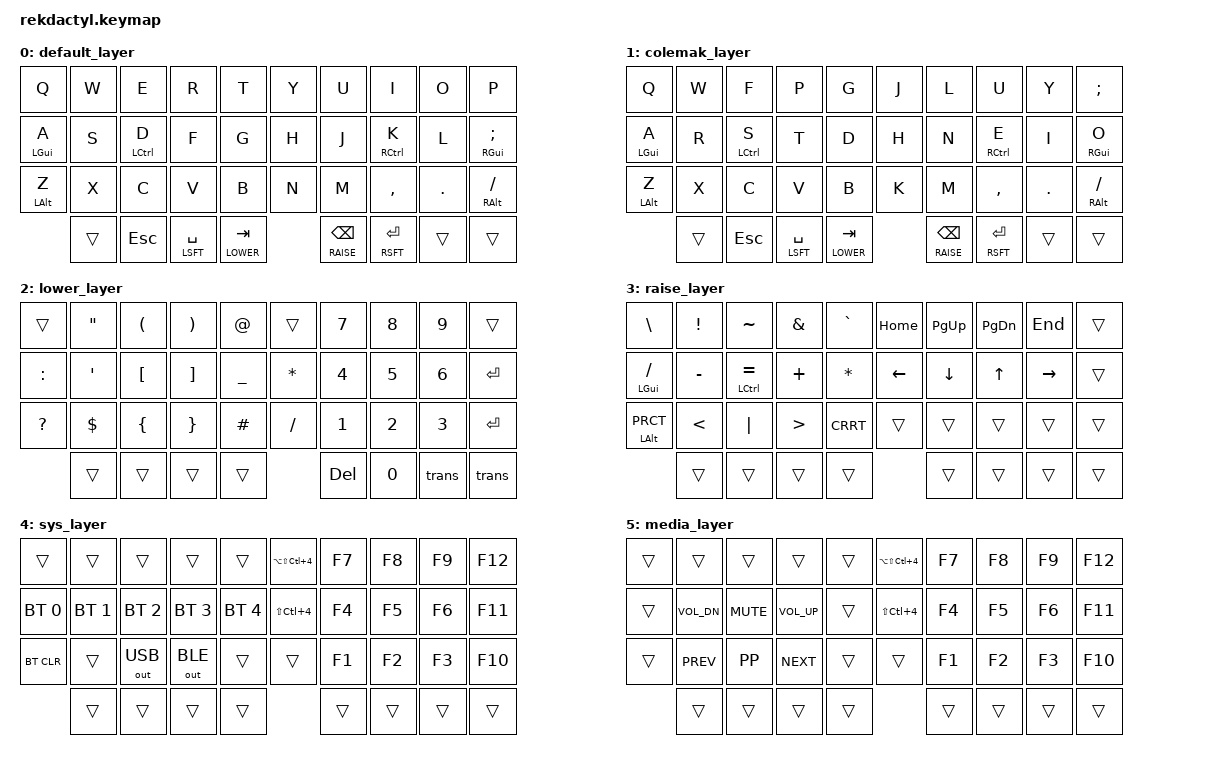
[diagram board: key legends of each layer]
/*
 * Copyright (c) 2020 The ZMK Contributors
 *
 * SPDX-License-Identifier: MIT
 */

 /*
  *  west build -b rekdactyl -- -DSHIELD=rekdactyl_left -DZMK_CONFIG="/Users/rishi/Documents/GitHub/zmk-config/config"
  */

#include <behaviors.dtsi>
#include <dt-bindings/zmk/keys.h>
#include <dt-bindings/zmk/bt.h>
#include <dt-bindings/zmk/outputs.h>

#define QWERTY 0
#define COLEMAK 1
#define LOWER 2
#define RAISE 3
#define SYS 4
#define MEDIA 5

/ {
        behaviors {
            hm: homerow_mods {
                compatible = "zmk,behavior-hold-tap";
                label = "HOMEROW_MODS";
                #binding-cells = <2>;
                tapping_term_ms = <150>;
                flavor = "tap-preferred";
                bindings = <&kp>, <&kp>;
            };
        };
        keymap {
                compatible = "zmk,keymap";

                default_layer {

                        bindings = <
   &kp Q      &kp W  &kp E       &kp R        &kp T           &kp Y &kp U  &kp I          &kp O   &kp P 
   &hm LGUI A &kp S  &hm LCTRL D &kp F        &kp G           &kp H &kp J  &hm RCTRL K    &kp L   &hm RGUI SCLN
   &hm LALT Z &kp X  &kp C       &kp V        &kp B           &kp N &kp M  &kp CMMA       &kp DOT &hm RALT FSLH
              &trans &kp ESC     &hm LSFT SPC &lt LOWER TAB   &lt RAISE BKSP &hm RSFT RET &trans &trans 
                    >;
                };

                colemak_layer {

                        bindings = <
   &kp Q      &kp W  &kp F       &kp P &kp G      &kp J &kp L  &kp U         &kp Y   &kp SCLN 
   &hm LGUI A &kp R  &hm LCTRL S &kp T &kp D      &kp H &kp N  &hm RCTRL E   &kp I   &hm RGUI O
   &hm LALT Z &kp X  &kp C       &kp V &kp B      &kp K &kp M  &kp CMMA      &kp DOT &hm RALT FSLH
  &trans &kp ESC     &hm LSFT SPC &lt LOWER TAB   &lt RAISE BKSP &hm RSFT RET &trans &trans 
                        >;
                };

                lower_layer {
                        bindings = <
   &trans          &kp DQT    &kp LPAR    &kp RPAR      &kp AT            &trans    &kp N7 &kp N8 &kp N9  &trans
   &kp COLON       &kp SQT    &kp LBKT    &kp RBKT      &kp UNDER         &kp STAR  &kp N4 &kp N5 &kp N6  &kp RET
   &kp QMARK       &kp DLLR   &kp LBRC    &kp RBRC      &kp HASH          &kp FSLH  &kp N1 &kp N2 &kp N3  &kp RET
                   &trans     &trans      &trans        &trans            &kp DEL   &kp N0 &kp trans &kp trans
                        >;
                };
                
                raise_layer {
                        bindings = <
   &kp BSLH       &kp EXCL  &kp TILDE     &kp AMPS  &kp GRAVE     &kp HOME  &kp PG_UP &kp PG_DN &kp END    &trans
   &hm LGUI FSLH  &kp MINUS &hm LCTL EQL  &kp PLUS  &kp STAR      &kp LEFT  &kp DOWN  &kp UP    &kp RIGHT  &trans
   &hm LALT PRCT  &kp LT    &kp PIPE      &kp GT    &kp CRRT      &trans    &trans    &trans    &trans     &trans
                  &trans    &trans       &trans    &trans         &trans    &trans     &trans    &trans

                        >;
                };

                sys_layer {
                        bindings = <
   &trans       &trans       &trans       &trans       &trans            &kp LA(LS(LC(N4)))    &kp F7   &kp F8     &kp F9  &kp F12    
   &bt BT_SEL 0 &bt BT_SEL 1 &bt BT_SEL 2 &bt BT_SEL 3 &bt BT_SEL 4      &kp LS(LC(N4))    &kp F4   &kp F5     &kp F6  &kp F11
   &bt BT_CLR   &trans       &out OUT_USB &out OUT_BLE &trans            &trans    &kp F1   &kp F2     &kp F3  &kp F10
                &trans    &trans &trans    &trans                       &trans    &trans &trans    &trans
                        >;
                };

                media_layer {
                        bindings = <
   &trans       &trans       &trans       &trans       &trans      &kp LA(LS(LC(N4)))    &kp F7   &kp F8     &kp F9  &kp F12    
   &trans       &kp K_VOL_DN &kp K_MUTE   &kp K_VOL_UP &trans      &kp LS(LC(N4))    &kp F4   &kp F5     &kp F6  &kp F11
   &trans       &kp K_PREV   &kp K_PP     &kp K_NEXT   &trans      &trans    &kp F1   &kp F2     &kp F3  &kp F10
                &trans    &trans   &trans    &trans                &trans    &trans &trans    &trans
                        >;
                };
            };

};

